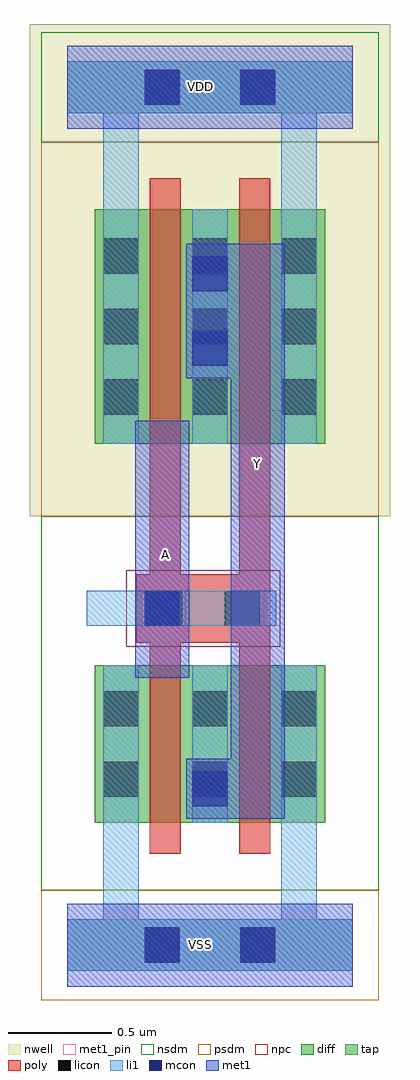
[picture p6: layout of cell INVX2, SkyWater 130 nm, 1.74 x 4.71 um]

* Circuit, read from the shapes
.subckt INVX2 A VDD VSS Y
XM1 Y A VSS VSS sky130_fd_pr__nfet_01v8 w=0.76 l=0.15 m=2
XM2 Y A VDD VDD sky130_fd_pr__pfet_01v8 w=1.13 l=0.15 m=2
.ends

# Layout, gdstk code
import gdstk
lib = gdstk.Library(unit=1e-6, precision=1e-09)
def R(c, l, rs):  # rectangles x0, y0, x1, y1
    for r in rs: c.add(gdstk.rectangle(r[:2], r[2:], *l))
def A(c, l, x, y, w, h, nx, ny, dx, dy):  # array of equal rectangles
    R(c, l, [(x+i*dx, y+j*dy, x+i*dx+w, y+j*dy+h) for i in range(nx) for j in range(ny)])
def P(c, l, *ps):  # polygons
    for p in ps: c.add(gdstk.Polygon(p, *l))
nwell = (64, 20)
diff = (65, 20)
tap = (65, 44)
poly = (66, 20)
licon = (66, 44)
li1 = (67, 20)
mcon = (67, 44)
met1_pin = (68, 16)
met1 = (68, 20)
nsdm = (93, 44)
psdm = (94, 20)
npc = (95, 20)

pyl1con_c_cdns_751554744 = lib.new_cell('PYL1CON_C_CDNS_751554744751')
R(pyl1con_c_cdns_751554744, poly, [(-0.135,-0.165,0.135,0.165)])
R(pyl1con_c_cdns_751554744, licon, [(-0.085,-0.085,0.085,0.085)])
R(pyl1con_c_cdns_751554744, npc, [(-0.185,-0.185,0.185,0.185)])

l1m1_c_cdns_751554744750 = lib.new_cell('L1M1_C_CDNS_751554744750$$8')
R(l1m1_c_cdns_751554744750, li1, [(-0.085,-0.165,0.085,0.165)])
R(l1m1_c_cdns_751554744750, mcon, [(-0.085,-0.085,0.085,0.085)])
R(l1m1_c_cdns_751554744750, met1, [(-0.115,-0.145,0.115,0.145)])

c_l1m1_c_cdns_751554744750 = lib.new_cell('L1M1_C_CDNS_751554744750$$7')
R(c_l1m1_c_cdns_751554744750, li1, [(-0.085,-0.345,0.085,0.345)])
R(c_l1m1_c_cdns_751554744750, mcon, [(-0.085,-0.265,0.085,-0.095), (-0.085,0.095,0.085,0.265)])
R(c_l1m1_c_cdns_751554744750, met1, [(-0.115,-0.325,0.115,0.325)])

c_l1m1_c_cdns_751554744750_ = lib.new_cell('L1M1_C_CDNS_751554744750$$9')
R(c_l1m1_c_cdns_751554744750_, li1, [(-0.165,-0.085,0.165,0.085)])
R(c_l1m1_c_cdns_751554744750_, mcon, [(-0.085,-0.085,0.085,0.085)])
R(c_l1m1_c_cdns_751554744750_, met1, [(-0.115,-0.145,0.115,0.145)])

invx2 = lib.new_cell('INVX2')
R(invx2, nwell, [(-0.18,2.07,1.56,4.445)])
R(invx2, diff, [(0.135,0.59,1.245,1.35), (0.135,2.42,1.245,3.55)])
P(invx2, poly, [(0.98,3.7),(0.83,3.7),(0.83,1.79),(0.55,1.79),(0.55,3.7),(0.4,3.7),(0.4,1.79),(0.365,1.79),(0.365,1.46),(0.4,1.46),(0.4,0.44),(0.55,0.44),(0.55,1.46),(0.83,1.46),(0.83,0.44),(0.98,0.44)])
A(invx2, licon, 0.175, 0.715, 0.17, 0.17, 3, 2, 0.43, 0.34)
A(invx2, licon, 0.175, 2.56, 0.17, 0.17, 3, 3, 0.43, 0.34)
R(invx2, licon, [(0.375,-0.085,0.545,0.085), (0.835,-0.085,1.005,0.085), (0.375,4.055,0.545,4.225), (0.835,4.055,1.005,4.225)])
R(invx2, li1, [(0.605,0.59,0.775,1.35), (0.605,2.42,0.775,3.55)])
P(invx2, li1, [(1.38,0.125),(1.205,0.125),(1.205,1.35),(1.035,1.35),(1.035,0.125),(0.345,0.125),(0.345,1.35),(0.175,1.35),(0.175,0.125),(0,0.125),(0,-0.125),(1.38,-0.125)],
  [(1.38,4.265),(0,4.265),(0,4.015),(0.175,4.015),(0.175,2.42),(0.345,2.42),(0.345,4.015),(1.035,4.015),(1.035,2.42),(1.205,2.42),(1.205,4.015),(1.38,4.015)])
R(invx2, mcon, [(0.375,-0.085,0.545,0.085), (0.835,-0.085,1.005,0.085), (0.375,4.055,0.545,4.225), (0.835,4.055,1.005,4.225)])
R(invx2, met1_pin, [(0.33,1.29,0.59,2.53), (0.79,1.34,1.05,2.58)])
R(invx2, nsdm, [(-0.125,0.265,1.505,2.07), (-0.125,3.875,1.505,4.405)])
R(invx2, psdm, [(-0.125,-0.265,1.505,0.265), (-0.125,2.07,1.505,3.875)])
R(invx2, npc, [(0.285,1.44,1.03,1.81)])
invx2.add(gdstk.FlexPath([(0.095,1.625),(1.01,1.625)], 0.17, ends="flush", simple_path=True, layer=67, datatype=20))  # li1
invx2.add(gdstk.FlexPath([(0,4.14),(1.38,4.14)], 0.25, ends="flush", simple_path=True, layer=65, datatype=44))  # tap
invx2.add(gdstk.FlexPath([(0,0),(1.38,0)], 0.25, ends="flush", simple_path=True, layer=65, datatype=44))  # tap
invx2.add(gdstk.FlexPath([(0.92,3.385),(0.92,0.61)], 0.26, ends="flush", simple_path=True, layer=68, datatype=20))  # met1
invx2.add(gdstk.FlexPath([(0.46,1.29),(0.46,2.53)], 0.26, ends="flush", simple_path=True, layer=68, datatype=20))  # met1
invx2.add(gdstk.FlexPath([(0,0),(1.38,0)], 0.4, ends="flush", simple_path=True, layer=68, datatype=20))  # met1
invx2.add(gdstk.FlexPath([(0,4.14),(1.38,4.14)], 0.4, ends="flush", simple_path=True, layer=68, datatype=20))  # met1
invx2.add(gdstk.FlexPath([(0,0),(1.38,0)], 0.4, ends="flush", simple_path=True, layer=68, datatype=16))  # met1_pin
invx2.add(gdstk.FlexPath([(0,4.14),(1.38,4.14)], 0.4, ends="flush", simple_path=True, layer=68, datatype=16))  # met1_pin
invx2.add(gdstk.Reference(pyl1con_c_cdns_751554744, (0.845,1.625)))
invx2.add(gdstk.Reference(pyl1con_c_cdns_751554744, (0.47,1.625)))
invx2.add(gdstk.Reference(l1m1_c_cdns_751554744750, (0.69,0.755)))
invx2.add(gdstk.Reference(c_l1m1_c_cdns_751554744750, (0.69,3.06)))
invx2.add(gdstk.Reference(c_l1m1_c_cdns_751554744750_, (0.46,1.625), x_reflection=True))
invx2.add(gdstk.Label('VSS', (0.645,0.005), layer=68, texttype=5))
invx2.add(gdstk.Label('Y', (0.92,2.325), layer=68, texttype=5))
invx2.add(gdstk.Label('A', (0.475,1.885), layer=68, texttype=5))
invx2.add(gdstk.Label('VDD', (0.645,4.145), layer=68, texttype=5))

lib.write_gds('INVX2.gds')
